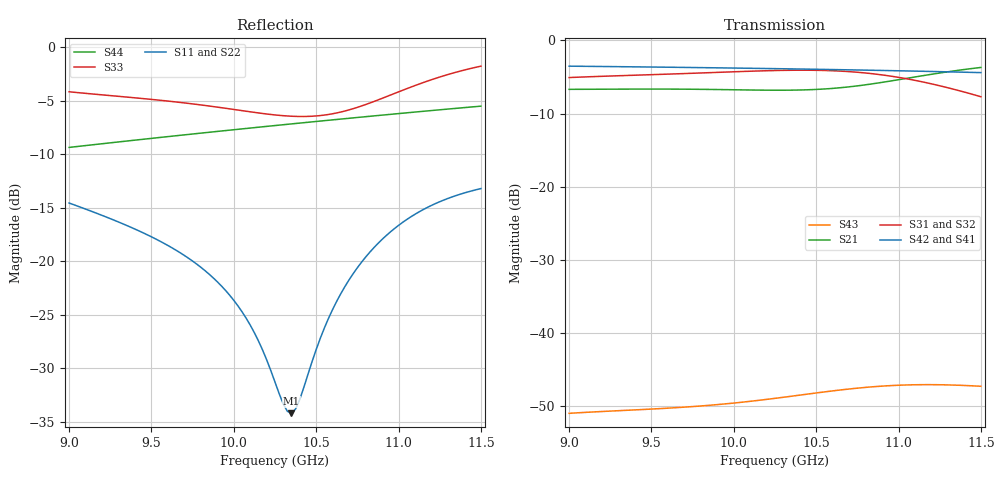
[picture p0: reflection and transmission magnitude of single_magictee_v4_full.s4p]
! Generated from PyAEDT SolutionData; AEDT ExportNetworkData workaround
# GHz S MA R 50
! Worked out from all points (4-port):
!   101 points, 9 GHz to 11.5 GHz, reference 50 ohm
!   strongest paths, dB at 9 GHz, 9.625 GHz, 10.25 GHz, 10.88 GHz, 11.5 GHz:
!     S42: -3.5, -3.7, -3.9, -4.1, -4.4
!     S41: -3.6, -3.7, -3.9, -4.2, -4.5
!     S31: -5.1, -4.6, -4.1, -4.7, -7.7
!     S32: -5.1, -4.6, -4.2, -4.7, -7.8
!     S21: -6.7, -6.7, -6.8, -5.8, -3.7
!     S43: -50.9, -50.2, -48.9, -47.3, -47.2
!   lowest |S11| = -34.2 dB at 10.35 GHz (marker M1), VSWR 1.04, Z = 50.8 + j1.8 ohm
!   |S11| at or under -10 dB: start of sweep to end of sweep
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9  0.1869 139.5  0.4625 179.5  0.5566 -103.9  0.6643 43.7
   0.4625 179.5  0.1885 140.1  0.5545 -104.1  0.6656 -136.4
   0.5566 -103.9  0.5545 -104.1  0.6187 163.7  0.002841 109.8
   0.6643 43.7  0.6656 -136.4  0.002841 109.8  0.34 -112.9
9.625  0.1153 72.4  0.4641 113.5  0.5887 145.8  0.6517 -27.1
       0.4641 113.5  0.1163 73.3  0.5858 145.7  0.6542 152.9
       0.5887 145.8  0.5858 145.7  0.557 5.8  0.003093 -4.3
       0.6517 -27.1  0.6542 152.9  0.003093 -4.3  0.3837 -179.0
10  0.06555 35.3  0.4594 76.1  0.6094 80.2  0.6429 -67.9
    0.4594 76.1  0.06641 36.4  0.6058 80.1  0.6462 112.1
    0.6094 80.2  0.6058 80.1  0.5115 -91.1  0.003338 -69.0
    0.6429 -67.9  0.6462 112.1  0.003338 -69.0  0.4113 142.1
10.35  0.01944 65.4  0.4566 44.2  0.6241 17.4  0.6337 -105.2
       0.4566 44.2  0.02066 62.9  0.6199 17.3  0.6378 74.7
       0.6241 17.4  0.6199 17.3  0.4755 169.6  0.003717 -129.4
       0.6337 -105.2  0.6378 74.7  0.003717 -129.4  0.4378 106.2
10.65  0.07055 94.6  0.4747 19.2  0.6156 -38.4  0.6251 -136.7
       0.4747 19.2  0.06928 93.2  0.611 -38.5  0.6297 43.1
       0.6156 -38.4  0.611 -38.5  0.4977 76.2  0.004103 176.8
       0.6251 -136.7  0.6297 43.1  0.004103 176.8  0.4612 75.7
10.95  0.1368 58.7  0.5267 -6.7  0.5697 -95.1  0.6159 -167.9
       0.5267 -6.7  0.1344 57.9  0.565 -95.2  0.6207 11.8
       0.5697 -95.1  0.565 -95.2  0.5968 -15.5  0.004389 121.1
       0.6159 -167.9  0.6207 11.8  0.004389 121.1  0.4852 45.3
11.5  0.2183 -14.8  0.6524 -62.5  0.4118 164.5  0.5977 135.2
      0.6524 -62.5  0.2151 -15.5  0.4078 164.4  0.6016 -45.2
      0.4118 164.5  0.4078 164.4  0.815 -159.9  0.004345 19.5
      0.5977 135.2  0.6016 -45.2  0.004345 19.5  0.53 -10.1
